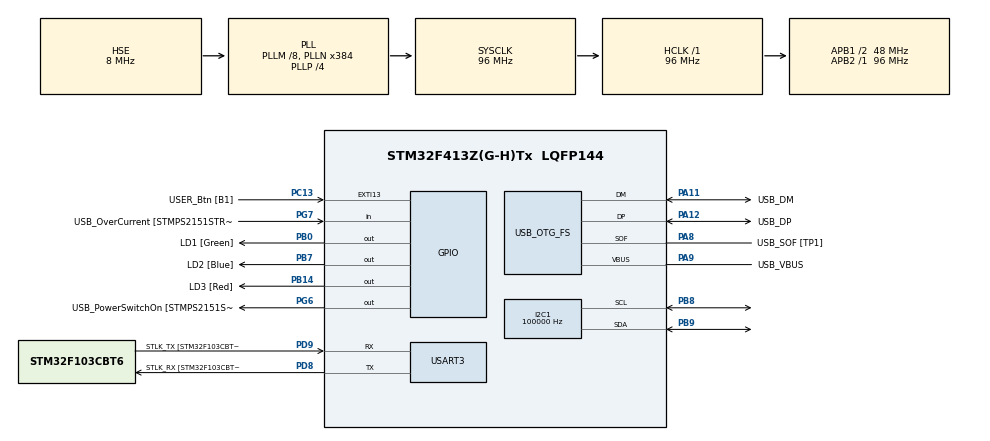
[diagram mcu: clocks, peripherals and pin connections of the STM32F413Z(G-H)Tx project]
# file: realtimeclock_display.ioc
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I2C1.AddressingMode=I2C_ADDRESSINGMODE_7BIT
I2C1.ClockSpeed=100000
I2C1.I2C_Mode=I2C_Standard
Mcu.Family=STM32F4
Mcu.Name=STM32F413Z(G-H)Tx
Mcu.Package=LQFP144
NVIC.I2C1_ER_IRQn=true\:0\:3\:false\:false\:true\:true\:true\:true
NVIC.I2C1_EV_IRQn=true\:1\:3\:true\:false\:true\:true\:true\:true
NVIC.PriorityGroup=NVIC_PRIORITYGROUP_2
NVIC.RTC_Alarm_IRQn=true\:1\:0\:true\:false\:true\:true\:true\:true
NVIC.USART3_IRQn=true\:2\:0\:true\:false\:true\:true\:true\:true
PA10.GPIO_Label=USB_ID
PA10.Signal=USB_OTG_FS_ID
PA11.GPIO_Label=USB_DM
PA11.Mode=Device_Only
PA11.Signal=USB_OTG_FS_DM
PA12.GPIO_Label=USB_DP
PA12.Mode=Device_Only
PA12.Signal=USB_OTG_FS_DP
PA13.GPIO_Label=TMS
PA13.Mode=Serial_Wire
PA13.Signal=SYS_JTMS-SWDIO
PA14.GPIO_Label=TCK
PA14.Mode=Serial_Wire
PA14.Signal=SYS_JTCK-SWCLK
PA8.GPIO_Label=USB_SOF [TP1]
PA8.Mode=Activate_SOF_FS
PA8.Signal=USB_OTG_FS_SOF
PA9.GPIO_Label=USB_VBUS
PA9.Mode=Activate_VBUS
PA9.Signal=USB_OTG_FS_VBUS
PB0.GPIO_Label=LD1 [Green]
PB0.Signal=GPIO_Output
PB14.GPIO_Label=LD3 [Red]
PB14.Signal=GPIO_Output
PB3.GPIO_Label=SWO
PB3.Signal=SYS_JTDO-SWO
PB7.GPIO_Label=LD2 [Blue]
PB7.Signal=GPIO_Output
PB8.GPIO_Pu=GPIO_PULLUP
PB8.Mode=I2C
PB8.Signal=I2C1_SCL
PB9.GPIO_Pu=GPIO_PULLUP
PB9.Mode=I2C
PB9.Signal=I2C1_SDA
PC13.GPIO_Label=USER_Btn [B1]
PC13.Signal=GPXTI13
PC14-OSC32_IN.Mode=LSE-External-Oscillator
PC14-OSC32_IN.Signal=RCC_OSC32_IN
PC15-OSC32_OUT.Mode=LSE-External-Oscillator
PC15-OSC32_OUT.Signal=RCC_OSC32_OUT
PD8.GPIO_Label=STLK_RX [STM32F103CBT6_PA3]
PD8.Mode=Asynchronous
PD8.Signal=USART3_TX
PD9.GPIO_Label=STLK_TX [STM32F103CBT6_PA2]
PD9.Mode=Asynchronous
PD9.Signal=USART3_RX
PG6.GPIO_Label=USB_PowerSwitchOn [STMPS2151STR_EN]
PG6.Signal=GPIO_Output
PG7.GPIO_Label=USB_OverCurrent [STMPS2151STR_FAULT]
PG7.Signal=GPIO_Input
PH0\ -\ OSC_IN.GPIO_Label=MCO
PH0\ -\ OSC_IN.Mode=HSE-External-Clock-Source
PH0\ -\ OSC_IN.Signal=RCC_OSC_IN
PH1\ -\ OSC_OUT.Mode=HSE-External-Clock-Source
PH1\ -\ OSC_OUT.Signal=RCC_OSC_OUT
ProjectManager.HeapSize=0x200
ProjectManager.StackSize=0x400
ProjectManager.TargetToolchain=STM32CubeIDE
RCC.48MHZClocksFreq_Value=24000000
RCC.AHBFreq_Value=96000000
RCC.APB1CLKDivider=RCC_HCLK_DIV2
RCC.APB1Freq_Value=48000000
RCC.APB1TimFreq_Value=96000000
RCC.APB2Freq_Value=96000000
RCC.APB2TimFreq_Value=96000000
RCC.CortexFreq_Value=96000000
RCC.HCLKFreq_Value=96000000
RCC.HSE_VALUE=8000000
RCC.HSI_VALUE=16000000
RCC.PLLM=8
RCC.PLLMUL=RCC_PLL_MUL9
RCC.PLLN=384
RCC.PLLP=RCC_PLLP_DIV4
RCC.PLLQ=8
RCC.PRESCALERUSB=RCC_USBCLKSOURCE_PLL_DIV1_5
RCC.SYSCLKFreq_VALUE=96000000
RCC.SYSCLKSource=RCC_SYSCLKSOURCE_PLLCLK
RCC.SYSCLKSourceVirtual=RCC_SYSCLKSOURCE_PLLCLK
RCC.USBFreq_Value=48000000
RCC.VCOOutputFreq_Value=384000000
RTC.Alarm=RTC_ALARM_A
RTC.AlarmMaskDateWeekDay=RTC_ALARMMASK_DATEWEEKDAY
RTC.AlarmMaskHours=RTC_ALARMMASK_HOURS
RTC.AlarmMaskMinutes=RTC_ALARMMASK_MINUTES
RTC.AlarmMaskSeconds=RTC_ALARMMASK_SECONDS
RTC.Date=31
RTC.DayLightSaving=RTC_DAYLIGHTSAVING_NONE
RTC.Format=RTC_FORMAT_BIN
RTC.Hours=23
RTC.Minutes=59
RTC.Seconds=45
RTC.WeekDay=RTC_WEEKDAY_MONDAY
RTC.Year=1
USART3.VirtualMode=VM_ASYNC
USB_OTG_FS.VirtualMode=Device_Only
VP_RTC_VS_RTC_Activate.Mode=RTC_Enabled
VP_RTC_VS_RTC_Alarm_A_Intern.Mode=Alarm A
VP_RTC_VS_RTC_Calendar.Mode=RTC_Calendar
board=NUCLEO-F413ZH

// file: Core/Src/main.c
/* USER CODE BEGIN Header */
/**
 ******************************************************************************
 * @file           : main.c
 * @brief          : Main program body
 ******************************************************************************
 * @attention
 *
 * Copyright (c) 2023 STMicroelectronics.
 * All rights reserved.
 *
 * This software is licensed under terms that can be found in the LICENSE file
 * in the root directory of this software component.
 * If no LICENSE file comes with this software, it is provided AS-IS.
 *
 ******************************************************************************
 */
/* USER CODE END Header */
#include "main.h"

/* USER CODE BEGIN Includes */
#include <stdio.h>
#include "string.h"
/* USER CODE END Includes */

/* USER CODE BEGIN PD */
#define SLAVE_ADDRESS_LCD (0x27 << 1)
/* USER CODE END PD */

I2C_HandleTypeDef hi2c1;

RTC_HandleTypeDef hrtc;

UART_HandleTypeDef huart3;

PCD_HandleTypeDef hpcd_USB_OTG_FS;

void SystemClock_Config(void);
static void MX_GPIO_Init(void);
static void MX_USART3_UART_Init(void);
static void MX_USB_OTG_FS_PCD_Init(void);
static void MX_I2C1_Init(void);
static void MX_RTC_Init(void);
/* USER CODE BEGIN PFP */
void lcd_send_cmd(char cmd);
void lcd_init(void);
uint8_t calculate_number(char zehner, char einer);
void write_char_4bit_mode(uint8_t destination[], uint16_t index, char data);
void write_cmd_4bit_mode(uint8_t destination[], uint16_t index, char data);
/* USER CODE END PFP */

/* USER CODE BEGIN 0 */
// RTC
RTC_TimeTypeDef time_rtc;
RTC_DateTypeDef date_rtc;

// Am Anfang initialisieren!
char data = '\0';
char str_date[16] = {'\0'};
char datetime_string[22] = {'\0'};

// 5 times 2 digits, 6 spacing characters times 4 and reset command
uint8_t display_output[68];
HAL_StatusTypeDef lcd_write_result = 0;

uint8_t i = 0;
uint8_t schaltjahr = 0; // = Schaltjahr

// Terminal Handling Variables
char space[] = "\rTT:MM - HH:MM:SS\r";
char IllegalFormat[] = "\rFalsche Eingabe!";
uint8_t error = 0; // False
/* USER CODE END 0 */

int main(void)
{

  /* MCU Configuration--------------------------------------------------------*/

  /* Reset of all peripherals, Initializes the Flash interface and the Systick. */
  HAL_Init();

  /* USER CODE BEGIN Init */

  // sets the cursor to the home position
  write_cmd_4bit_mode(display_output, 64, 0x02);

  /* USER CODE END Init */

  /* Configure the system clock */
  SystemClock_Config();

  /* Initialize all configured peripherals */
  MX_GPIO_Init();
  MX_USART3_UART_Init();
  MX_USB_OTG_FS_PCD_Init();
  MX_I2C1_Init();
  MX_RTC_Init();
  /* USER CODE BEGIN 2 */

  lcd_init();

  // Terminal Initialisieren
  HAL_UART_Transmit(&huart3, (uint8_t *)&space, strlen(space), 1000);
  HAL_UART_Receive_IT(&huart3, (uint8_t *)&data, 1);
  /* USER CODE END 2 */

  /* Infinite loop */
  while (1)
  {

  }
}

void SystemClock_Config(void)
{
  RCC_OscInitTypeDef RCC_OscInitStruct = {0};
  RCC_ClkInitTypeDef RCC_ClkInitStruct = {0};

  /** Configure the main internal regulator output voltage
   */
  __HAL_RCC_PWR_CLK_ENABLE();
  __HAL_PWR_VOLTAGESCALING_CONFIG(PWR_REGULATOR_VOLTAGE_SCALE1);

  /** Initializes the RCC Oscillators according to the specified parameters
   * in the RCC_OscInitTypeDef structure.
   */
  RCC_OscInitStruct.OscillatorType = RCC_OSCILLATORTYPE_LSI | RCC_OSCILLATORTYPE_HSE;
  RCC_OscInitStruct.HSEState = RCC_HSE_BYPASS;
  RCC_OscInitStruct.LSIState = RCC_LSI_ON;
  RCC_OscInitStruct.PLL.PLLState = RCC_PLL_ON;
  RCC_OscInitStruct.PLL.PLLSource = RCC_PLLSOURCE_HSE;
  RCC_OscInitStruct.PLL.PLLM = 8;
  RCC_OscInitStruct.PLL.PLLN = 384;
  RCC_OscInitStruct.PLL.PLLP = RCC_PLLP_DIV4;
  RCC_OscInitStruct.PLL.PLLQ = 8;
  RCC_OscInitStruct.PLL.PLLR = 2;
  if (HAL_RCC_OscConfig(&RCC_OscInitStruct) != HAL_OK)
  {
    Error_Handler();
  }

  /** Initializes the CPU, AHB and APB buses clocks
   */
  RCC_ClkInitStruct.ClockType = RCC_CLOCKTYPE_HCLK | RCC_CLOCKTYPE_SYSCLK | RCC_CLOCKTYPE_PCLK1 | RCC_CLOCKTYPE_PCLK2;
  RCC_ClkInitStruct.SYSCLKSource = RCC_SYSCLKSOURCE_PLLCLK;
  RCC_ClkInitStruct.AHBCLKDivider = RCC_SYSCLK_DIV1;
  RCC_ClkInitStruct.APB1CLKDivider = RCC_HCLK_DIV2;
  RCC_ClkInitStruct.APB2CLKDivider = RCC_HCLK_DIV1;

  if (HAL_RCC_ClockConfig(&RCC_ClkInitStruct, FLASH_LATENCY_3) != HAL_OK)
  {
    Error_Handler();
  }
}

static void MX_I2C1_Init(void)
{

  hi2c1.Instance = I2C1;
  hi2c1.Init.ClockSpeed = 100000;
  hi2c1.Init.DutyCycle = I2C_DUTYCYCLE_2;
  hi2c1.Init.OwnAddress1 = 0;
  hi2c1.Init.AddressingMode = I2C_ADDRESSINGMODE_7BIT;
  hi2c1.Init.DualAddressMode = I2C_DUALADDRESS_DISABLE;
  hi2c1.Init.OwnAddress2 = 0;
  hi2c1.Init.GeneralCallMode = I2C_GENERALCALL_DISABLE;
  hi2c1.Init.NoStretchMode = I2C_NOSTRETCH_DISABLE;
  if (HAL_I2C_Init(&hi2c1) != HAL_OK)
  {
    Error_Handler();
  }
}

static void MX_RTC_Init(void)
{

  RTC_TimeTypeDef sTime = {0};
  RTC_DateTypeDef sDate = {0};
  RTC_AlarmTypeDef sAlarm = {0};

  /** Initialize RTC Only
   */
  hrtc.Instance = RTC;
  hrtc.Init.HourFormat = RTC_HOURFORMAT_24;
  hrtc.Init.AsynchPrediv = 127;
  hrtc.Init.SynchPrediv = 255;
  hrtc.Init.OutPut = RTC_OUTPUT_DISABLE;
  hrtc.Init.OutPutPolarity = RTC_OUTPUT_POLARITY_HIGH;
  hrtc.Init.OutPutType = RTC_OUTPUT_TYPE_OPENDRAIN;
  if (HAL_RTC_Init(&hrtc) != HAL_OK)
  {
    Error_Handler();
  }

  /** Initialize RTC and set the Time and Date
   */
  sTime.Hours = 23;
  sTime.Minutes = 59;
  sTime.Seconds = 45;
  sTime.DayLightSaving = RTC_DAYLIGHTSAVING_NONE;
  sTime.StoreOperation = RTC_STOREOPERATION_RESET;
  if (HAL_RTC_SetTime(&hrtc, &sTime, RTC_FORMAT_BIN) != HAL_OK)
  {
    Error_Handler();
  }
  sDate.WeekDay = RTC_WEEKDAY_MONDAY;
  sDate.Month = RTC_MONTH_JANUARY;
  sDate.Date = 31;
  sDate.Year = 1;

  if (HAL_RTC_SetDate(&hrtc, &sDate, RTC_FORMAT_BIN) != HAL_OK)
  {
    Error_Handler();
  }

  /** Enable the Alarm A
   */
  sAlarm.AlarmTime.Hours = 0;
  sAlarm.AlarmTime.Minutes = 0;
  sAlarm.AlarmTime.Seconds = 0;
  sAlarm.AlarmTime.SubSeconds = 0;
  sAlarm.AlarmTime.DayLightSaving = RTC_DAYLIGHTSAVING_NONE;
  sAlarm.AlarmTime.StoreOperation = RTC_STOREOPERATION_RESET;
  sAlarm.AlarmMask = RTC_ALARMMASK_ALL;
  sAlarm.AlarmSubSecondMask = RTC_ALARMSUBSECONDMASK_ALL;
  sAlarm.AlarmDateWeekDaySel = RTC_ALARMDATEWEEKDAYSEL_DATE;
  sAlarm.AlarmDateWeekDay = 1;
  sAlarm.Alarm = RTC_ALARM_A;
  if (HAL_RTC_SetAlarm_IT(&hrtc, &sAlarm, RTC_FORMAT_BIN) != HAL_OK)
  {
    Error_Handler();
  }
}

static void MX_USART3_UART_Init(void)
{

  huart3.Instance = USART3;
  huart3.Init.BaudRate = 115200;
  huart3.Init.WordLength = UART_WORDLENGTH_8B;
  huart3.Init.StopBits = UART_STOPBITS_1;
  huart3.Init.Parity = UART_PARITY_NONE;
  huart3.Init.Mode = UART_MODE_TX_RX;
  huart3.Init.HwFlowCtl = UART_HWCONTROL_NONE;
  huart3.Init.OverSampling = UART_OVERSAMPLING_16;
  if (HAL_UART_Init(&huart3) != HAL_OK)
  {
    Error_Handler();
  }
}

static void MX_USB_OTG_FS_PCD_Init(void)
{

  hpcd_USB_OTG_FS.Instance = USB_OTG_FS;
  hpcd_USB_OTG_FS.Init.dev_endpoints = 6;
  hpcd_USB_OTG_FS.Init.speed = PCD_SPEED_FULL;
  hpcd_USB_OTG_FS.Init.dma_enable = DISABLE;
  hpcd_USB_OTG_FS.Init.phy_itface = PCD_PHY_EMBEDDED;
  hpcd_USB_OTG_FS.Init.Sof_enable = ENABLE;
  hpcd_USB_OTG_FS.Init.low_power_enable = DISABLE;
  hpcd_USB_OTG_FS.Init.lpm_enable = DISABLE;
  hpcd_USB_OTG_FS.Init.battery_charging_enable = ENABLE;
  hpcd_USB_OTG_FS.Init.vbus_sensing_enable = ENABLE;
  hpcd_USB_OTG_FS.Init.use_dedicated_ep1 = DISABLE;
  if (HAL_PCD_Init(&hpcd_USB_OTG_FS) != HAL_OK)
  {
    Error_Handler();
  }
}

static void MX_GPIO_Init(void)
{
  GPIO_InitTypeDef GPIO_InitStruct = {0};

  /* GPIO Ports Clock Enable */
  __HAL_RCC_GPIOC_CLK_ENABLE();
  __HAL_RCC_GPIOH_CLK_ENABLE();
  __HAL_RCC_GPIOB_CLK_ENABLE();
  __HAL_RCC_GPIOD_CLK_ENABLE();
  __HAL_RCC_GPIOG_CLK_ENABLE();
  __HAL_RCC_GPIOA_CLK_ENABLE();

  /*Configure GPIO pin Output Level */
  HAL_GPIO_WritePin(GPIOB, LD1_Pin | LD3_Pin | LD2_Pin, GPIO_PIN_RESET);

  /*Configure GPIO pin Output Level */
  HAL_GPIO_WritePin(USB_PowerSwitchOn_GPIO_Port, USB_PowerSwitchOn_Pin, GPIO_PIN_RESET);

  /*Configure GPIO pin : USER_Btn_Pin */
  GPIO_InitStruct.Pin = USER_Btn_Pin;
  GPIO_InitStruct.Mode = GPIO_MODE_IT_RISING;
  GPIO_InitStruct.Pull = GPIO_NOPULL;
  HAL_GPIO_Init(USER_Btn_GPIO_Port, &GPIO_InitStruct);

  /*Configure GPIO pins : LD1_Pin LD3_Pin LD2_Pin */
  GPIO_InitStruct.Pin = LD1_Pin | LD3_Pin | LD2_Pin;
  GPIO_InitStruct.Mode = GPIO_MODE_OUTPUT_PP;
  GPIO_InitStruct.Pull = GPIO_NOPULL;
  GPIO_InitStruct.Speed = GPIO_SPEED_FREQ_LOW;
  HAL_GPIO_Init(GPIOB, &GPIO_InitStruct);

  /*Configure GPIO pin : USB_PowerSwitchOn_Pin */
  GPIO_InitStruct.Pin = USB_PowerSwitchOn_Pin;
  GPIO_InitStruct.Mode = GPIO_MODE_OUTPUT_PP;
  GPIO_InitStruct.Pull = GPIO_NOPULL;
  GPIO_InitStruct.Speed = GPIO_SPEED_FREQ_LOW;
  HAL_GPIO_Init(USB_PowerSwitchOn_GPIO_Port, &GPIO_InitStruct);

  /*Configure GPIO pin : USB_OverCurrent_Pin */
  GPIO_InitStruct.Pin = USB_OverCurrent_Pin;
  GPIO_InitStruct.Mode = GPIO_MODE_INPUT;
  GPIO_InitStruct.Pull = GPIO_NOPULL;
  HAL_GPIO_Init(USB_OverCurrent_GPIO_Port, &GPIO_InitStruct);

}

/* USER CODE BEGIN 4 */
void HAL_UART_RxCpltCallback(UART_HandleTypeDef *huart)
{
  // Eingabe wurde getätigt
  if (data != '\0')
  {
    HAL_UART_Transmit(&huart3, (uint8_t *)&data, 1, 100);

    str_date[i] = data;

    // Format überprüfen
    if (((i == 2 || i == 10 || i == 13) && data != ':') // Doppelpunkt
        || ((i == 5 || i == 7) && data != ' ')          // Leerzeichen
        || (i == 6 && data != '-'))                     // Bindestrich
    {
      error = 1;
    }
    else
    {
      // Überprüfung der Eingabe auf richtige Zahlen
      switch (i)
      {
      // Tage
      case 0: // Erste Stelle maximal 3
        if (str_date[i] < '0' || str_date[i] > '3')
        {
          error = 1;
        }
        break;

      case 1:
        if ((str_date[i] < '1' || str_date[i] > '9') || (str_date[i - 1] == '3' && str_date[i] > '1')) // >31
        {
          error = 1;
        }
        break;

        // Monate
      case 3: // Erste Stelle maximal 1
        if (str_date[i] < '0' || str_date[i] > '1')
        {
          error = 1;
        }
        break;

      case 4:
        if ((str_date[i] < '1' || str_date[i] > '9') || (str_date[i - 1] == '1' && str_date[i] > '2')) // >12
        {
          error = 1;
        }
        break;

      // Stunden
      case 8: // Erste Stelle maximal 2
        if (str_date[i] < '0' || str_date[i] > '2')
        {
          error = 1;
        }
        break;

      case 9:
        if ((str_date[i] < '0' || str_date[i] > '9') || (str_date[i - 1] == '2' && str_date[i] > '3')) // >23
        {
          error = 1;
        }
        break;

        // Handling Minuten & Sekunden
      case 11:
      case 14: // Erste Stelle maximal 5
        if (str_date[i] < '0' || str_date[i] > '5')
        {
          error = 1;
        }
        break;

      case 12:
      case 15:
        if (str_date[i] < '0' || str_date[i] > '9') // > 59
        {
          error = 1;
        }
        break;

      default: // default ist 2, 5, 6, 7, 10, 13 (Zeichen)
        break;
      }
    }
    // i wird hier ständig um 1 erhöht, wenn eine Eingabe kommt
    i++;

    // Reset & Error-Handling
    if (i > 15 || error > 0)
    {

      // Error Message:
      if (error > 0)
      {
        HAL_UART_Transmit(&huart3, (uint8_t *)&IllegalFormat, strlen(IllegalFormat), 1000);
        HAL_Delay(2000);
      }

      // Reset Variable
      i = 0;
      // Reset Terminal
      HAL_UART_Transmit(&huart3, (uint8_t *)&space, strlen(space), 1000);
      if (error < 1)
      {
        // Set RTC
        date_rtc.Date = calculate_number(str_date[0], str_date[1]);
        date_rtc.Month = calculate_number(str_date[3], str_date[4]);
        // Immer Schaltjahr:
        date_rtc.Year = schaltjahr;

        time_rtc.Hours = calculate_number(str_date[8], str_date[9]);
        time_rtc.Minutes = calculate_number(str_date[11], str_date[12]);
        time_rtc.Seconds = calculate_number(str_date[14], str_date[15]);

        if (date_rtc.Month == 2 && date_rtc.Date > 29)
          date_rtc.Date = 29;
        else if ((date_rtc.Month == 4 || date_rtc.Month == 6 || date_rtc.Month == 9 || date_rtc.Month == 11) && date_rtc.Date > 30)
        {
          date_rtc.Date = 30;
        }

        HAL_RTC_SetDate(&hrtc, &date_rtc, RTC_FORMAT_BIN);
        HAL_RTC_SetTime(&hrtc, &time_rtc, RTC_FORMAT_BIN);
      }
      else
      { // Error resetten
        error = 0;
      }
    }
    data = '\0';
  }
  // Reaktivieren: Interrupt
  HAL_UART_Receive_IT(&huart3, (uint8_t *)&data, 1);
}

/*
 * Interrupt handler of the real time clock alarm.
 * Is set to fire every second to update the display.
 */
void HAL_RTC_AlarmAEventCallback(RTC_HandleTypeDef *_hrtc)
{
  // Get RTC values
  HAL_RTC_GetTime(&hrtc, &time_rtc, RTC_FORMAT_BIN);
  HAL_RTC_GetDate(&hrtc, &date_rtc, RTC_FORMAT_BIN);

  // Immer Schaltjahr
  if (date_rtc.Year != schaltjahr)
    date_rtc.Year = schaltjahr;

  sprintf(datetime_string, "%02u:%02u - %02u:%02u:%02u", date_rtc.Date, date_rtc.Month, time_rtc.Hours, time_rtc.Minutes, time_rtc.Seconds);

  // convert data from datetime_LCD to display_time for LCD 4bit mode
  for (uint16_t j = 0; j < 16; j++)
  {
    write_char_4bit_mode(display_output, (j << 2), datetime_string[j]);
  }

  // send 4 times the data of datetime_LCD because of LCD 4bit mode -> 64 + 4 bit cursor reset cmd
  HAL_I2C_Master_Transmit_IT(&hi2c1, SLAVE_ADDRESS_LCD, (uint8_t *)display_output, 68);

  // resets the alarm to trigger the interrupt in the next second again
  RTC_AlarmTypeDef rtcInterruptAlarm = {0};
  rtcInterruptAlarm.AlarmTime.Hours = 0;
  rtcInterruptAlarm.AlarmTime.Minutes = 0;
  rtcInterruptAlarm.AlarmTime.Seconds = 0;
  rtcInterruptAlarm.AlarmTime.SubSeconds = 0;
  rtcInterruptAlarm.AlarmTime.DayLightSaving = RTC_DAYLIGHTSAVING_NONE;
  rtcInterruptAlarm.AlarmTime.StoreOperation = RTC_STOREOPERATION_RESET;
  rtcInterruptAlarm.AlarmMask = RTC_ALARMMASK_ALL;
  rtcInterruptAlarm.AlarmSubSecondMask = RTC_ALARMSUBSECONDMASK_ALL;
  rtcInterruptAlarm.AlarmDateWeekDaySel = RTC_ALARMDATEWEEKDAYSEL_DATE;
  rtcInterruptAlarm.AlarmDateWeekDay = 0;
  rtcInterruptAlarm.Alarm = RTC_ALARM_A;
  HAL_RTC_SetAlarm_IT(&hrtc, &rtcInterruptAlarm, RTC_FORMAT_BIN);
}

/*
 * Triggers when an I²C communication failed.
 * Turns on the red status indicator led.
 */
void HAL_I2C_ErrorCallback(I2C_HandleTypeDef *hi2c)
{
  HAL_GPIO_WritePin(LD3_GPIO_Port, LD3_Pin, SET);
}

/*
 * Converts one (ascii) byte to I²C display instructions
 */
void write_char_4bit_mode(uint8_t destination[], uint16_t index, char data)
{
  char data_u, data_l;
  data_u = (data & 0xF0);
  data_l = ((data << 4) & 0xF0);
  destination[index] = data_u | 0x0D;     // en=1, rs=1
  destination[index + 1] = data_u | 0x09; // en=0, rs=1
  destination[index + 2] = data_l | 0x0D; // en=1, rs=1
  destination[index + 3] = data_l | 0x09; // en=0, rs=1
}

/*
Converts one byte command to I²C display instructions
*/
void write_cmd_4bit_mode(uint8_t destination[], uint16_t index, char data)
{
  char data_u, data_l;
  data_u = (data & 0xF0);
  data_l = ((data << 4) & 0xF0);
  destination[index] = data_u | 0x0C;   // en=1, rs=0
  destination[++index] = data_u | 0x08; // en=0, rs=0
  destination[++index] = data_l | 0x0C; // en=1, rs=0
  destination[++index] = data_l | 0x08; // en=0, rs=0
}

void lcd_init(void)
{
  // 4 bit initialisation
  HAL_Delay(50); // wait for >40ms
  lcd_send_cmd(0x30);
  HAL_Delay(5); // wait for >4.1ms
  lcd_send_cmd(0x30);
  HAL_Delay(1); // wait for >100us
  lcd_send_cmd(0x30);
  HAL_Delay(10);
  lcd_send_cmd(0x20); // 4bit mode
  HAL_Delay(10);

  // dislay initialisation
  lcd_send_cmd(0x28); // Function set --> DL=0 (4 bit mode), N = 1 (2 line display) F = 0 (5x8 characters)
                      //           00101000
                      //           001DNFxx
  HAL_Delay(1);
  lcd_send_cmd(0x08); // Display on/off control --> D=0,C=0, B=0  ---> display off
  HAL_Delay(1);
  lcd_send_cmd(0x01); // clear display
  HAL_Delay(2);
  lcd_send_cmd(0x06); // Entry mode set --> I/D = 1 (increment cursor) & S = 0 (no shift)
  HAL_Delay(1);
  lcd_send_cmd(0x0C); // Display on/off control --> D = 1, C and B = 0. (Cursor and blink, last two bits)
}

void lcd_send_cmd(char cmd)
{
  char data_u, data_l;
  uint8_t data_t[4];
  data_u = (cmd & 0xf0);
  data_l = ((cmd << 4) & 0xf0);
  data_t[0] = data_u | 0x0C; // en=1, rs=0
  data_t[1] = data_u | 0x08; // en=0, rs=0
  data_t[2] = data_l | 0x0C; // en=1, rs=0
  data_t[3] = data_l | 0x08; // en=0, rs=0
  HAL_I2C_Master_Transmit(&hi2c1, SLAVE_ADDRESS_LCD, (uint8_t *)data_t, 4, 100);
}

uint8_t calculate_number(char zehner, char einer)
{
  uint8_t zehn = zehner - 48;
  uint8_t ein = einer - 48;

  return (zehn * 10) + ein;
}

/* USER CODE END 4 */

void Error_Handler(void)
{
  __disable_irq();
  while (1)
  {
  }
}
